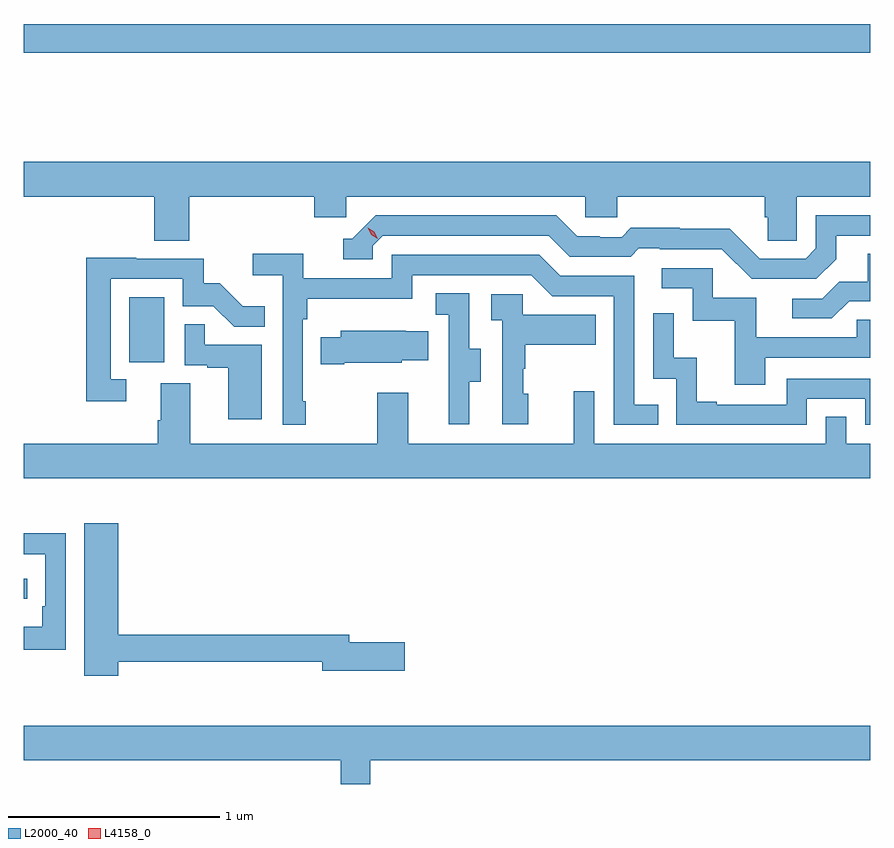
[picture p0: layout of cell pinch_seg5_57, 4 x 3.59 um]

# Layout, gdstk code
import gdstk
lib = gdstk.Library(unit=1e-6, precision=1e-09)
def R(c, l, rs):  # rectangles x0, y0, x1, y1
    for r in rs: c.add(gdstk.rectangle(r[:2], r[2:], *l))
def P(c, l, *ps):  # polygons
    for p in ps: c.add(gdstk.Polygon(p, *l))
L2000_40 = (2000, 40)
L4158_0 = (4158, 0)

pinch_seg5_57 = lib.new_cell('pinch_seg5_57')
R(pinch_seg5_57, L2000_40, [(1068.805,906.807,1068.82,906.903), (1069.304,907.926,1069.468,908.233), (1068.805,909.388,1072.805,909.524)])
P(pinch_seg5_57, L2000_40, [(1069.586,908.708),(1070.177,908.708),(1070.177,908.61),(1070.328,908.61),(1070.328,908.708),(1071.459,908.708),(1071.459,908.61),(1071.609,908.61),(1071.609,908.708),(1072.307,908.708),(1072.307,908.61),(1072.321,908.61),(1072.321,908.5),(1072.458,908.5),(1072.458,908.708),(1072.805,908.708),(1072.805,908.872),(1068.805,908.872),(1068.805,908.708),(1069.421,908.708),(1069.421,908.5),(1069.586,908.5)],
  [(1072.645,908.413),(1072.645,908.523),(1072.805,908.523),(1072.805,908.619),(1072.548,908.619),(1072.548,908.463),(1072.5,908.415),(1072.284,908.415),(1072.142,908.557),(1071.906,908.557),(1071.906,908.56),(1071.673,908.56),(1071.631,908.517),(1071.528,908.517),(1071.528,908.52),(1071.421,908.52),(1071.322,908.619),(1070.469,908.619),(1070.358,908.508),(1070.315,908.508),(1070.315,908.412),(1070.454,908.412),(1070.454,908.475),(1070.502,908.523),(1071.285,908.523),(1071.384,908.424),(1071.673,908.424),(1071.712,908.463),(1071.811,908.463),(1071.811,908.46),(1072.104,908.46),(1072.245,908.319),(1072.551,908.319)],
  [(1072.705,908.214),(1072.805,908.214),(1072.805,908.438),(1072.793,908.438),(1072.793,908.306),(1072.658,908.306),(1072.578,908.226),(1072.437,908.226),(1072.437,908.133),(1072.624,908.133)],
  [(1070.137,907.741),(1070.124,907.741),(1070.124,908.129),(1070.144,908.129),(1070.144,908.225),(1070.64,908.225),(1070.64,908.337),(1071.204,908.337),(1071.303,908.238),(1071.594,908.238),(1071.594,907.629),(1071.803,907.629),(1071.803,907.725),(1071.69,907.725),(1071.69,908.334),(1071.34,908.334),(1071.241,908.433),(1070.544,908.433),(1070.544,908.322),(1070.126,908.322),(1070.126,908.438),(1069.887,908.438),(1069.887,908.336),(1070.028,908.336),(1070.028,907.629),(1070.137,907.629)],
  [(1069.288,907.845),(1069.215,907.845),(1069.215,908.319),(1069.557,908.319),(1069.557,908.19),(1069.701,908.19),(1069.799,908.092),(1069.943,908.092),(1069.943,908.191),(1069.839,908.191),(1069.732,908.298),(1069.656,908.298),(1069.656,908.415),(1069.337,908.415),(1069.337,908.42),(1069.099,908.42),(1069.099,907.74),(1069.288,907.74)],
  [(1072.309,907.947),(1072.805,907.947),(1072.805,908.127),(1072.741,908.127),(1072.741,908.043),(1072.267,908.043),(1072.267,908.229),(1072.062,908.229),(1072.062,908.37),(1071.819,908.37),(1071.819,908.274),(1071.966,908.274),(1071.966,908.121),(1072.165,908.121),(1072.165,907.818),(1072.309,907.818)],
  [(1070.911,907.834),(1070.965,907.834),(1070.965,907.989),(1070.91,907.989),(1070.91,908.252),(1070.751,908.252),(1070.751,908.149),(1070.814,908.149),(1070.814,907.845),(1070.813,907.845),(1070.813,907.632),(1070.911,907.632)],
  [(1071.19,907.776),(1071.165,907.776),(1071.165,907.895),(1071.175,907.895),(1071.175,908.009),(1071.509,908.009),(1071.509,908.149),(1071.162,908.149),(1071.162,908.247),(1071.015,908.247),(1071.015,908.123),(1071.066,908.123),(1071.066,907.632),(1071.19,907.632)],
  [(1072.506,907.752),(1072.782,907.752),(1072.782,907.629),(1072.805,907.629),(1072.805,907.848),(1072.41,907.848),(1072.41,907.725),(1072.081,907.725),(1072.081,907.738),(1071.986,907.738),(1071.986,907.946),(1071.876,907.946),(1071.876,908.158),(1071.78,908.158),(1071.78,907.848),(1071.888,907.848),(1071.888,907.629),(1072.506,907.629)],
  [(1069.93,908.007),(1069.661,908.007),(1069.661,908.105),(1069.566,908.105),(1069.566,907.911),(1069.673,907.911),(1069.673,907.899),(1069.772,907.899),(1069.772,907.656),(1069.93,907.656)],
  [(1070.32,907.922),(1070.592,907.922),(1070.592,907.934),(1070.717,907.934),(1070.717,908.071),(1070.609,908.071),(1070.609,908.074),(1070.303,908.074),(1070.303,908.044),(1070.209,908.044),(1070.209,907.915),(1070.32,907.915)],
  [(1072.805,907.54),(1072.692,907.54),(1072.692,907.667),(1072.596,907.667),(1072.596,907.54),(1071.501,907.54),(1071.501,907.789),(1071.404,907.789),(1071.404,907.54),(1070.623,907.54),(1070.623,907.78),(1070.476,907.78),(1070.476,907.54),(1069.591,907.54),(1069.591,907.826),(1069.451,907.826),(1069.451,907.652),(1069.439,907.652),(1069.439,907.54),(1068.805,907.54),(1068.805,907.376),(1072.805,907.376)],
  [(1069.252,906.51),(1070.216,906.51),(1070.216,906.467),(1070.605,906.467),(1070.605,906.602),(1070.344,906.602),(1070.344,906.638),(1069.252,906.638),(1069.252,907.165),(1069.091,907.165),(1069.091,906.444),(1069.252,906.444)],
  [(1069.002,907.118),(1068.805,907.118),(1068.805,907.017),(1068.906,907.017),(1068.906,906.772),(1068.893,906.772),(1068.893,906.676),(1068.805,906.676),(1068.805,906.567),(1069.002,906.567)],
  [(1070.443,906.044),(1072.805,906.044),(1072.805,906.208),(1068.805,906.208),(1068.805,906.044),(1070.303,906.044),(1070.303,905.932),(1070.443,905.932)])
P(pinch_seg5_57, L4158_0, [(1070.477,908.508),(1070.446,908.528),(1070.43,908.56),(1070.43,908.56),(1070.43,908.56),(1070.461,908.541),(1070.477,908.509),(1070.477,908.508)])

lib.write_gds('pinch_seg5_57.gds')
